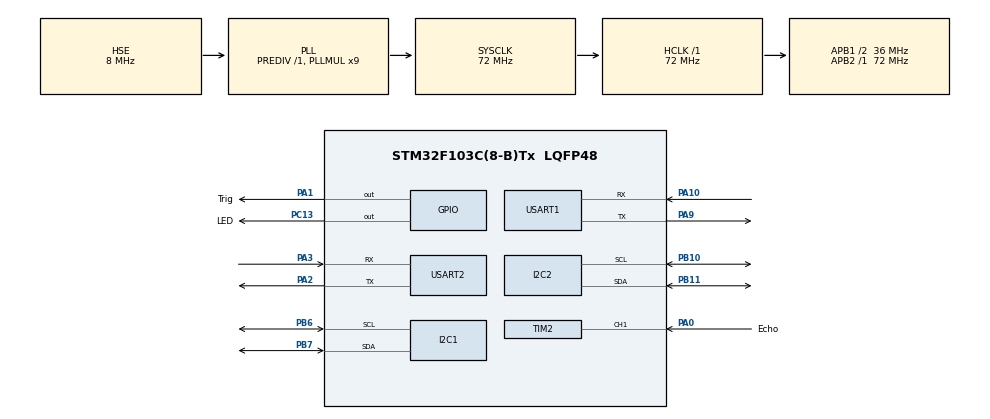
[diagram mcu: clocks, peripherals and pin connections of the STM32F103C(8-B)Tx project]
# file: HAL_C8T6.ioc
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FREERTOS.Events01=activeEvent,Dynamic,NULL
FREERTOS.INCLUDE_xEventGroupSetBitFromISR=1
FREERTOS.Tasks01=defaultTask,24,128,StartDefaultTask,Default,NULL,Dynamic,NULL,NULL;active,8,128,active_task,Default,NULL,Dynamic,NULL,NULL
FREERTOS.configUSE_PREEMPTION=1
Mcu.Family=STM32F1
Mcu.Name=STM32F103C(8-B)Tx
Mcu.Package=LQFP48
NVIC.PriorityGroup=NVIC_PRIORITYGROUP_4
NVIC.TIM2_IRQn=true\:5\:0\:false\:false\:true\:true\:true\:true\:true
NVIC.TIM4_IRQn=true\:15\:0\:false\:false\:true\:false\:false\:true\:true
NVIC.TimeBase=TIM4_IRQn
NVIC.TimeBaseIP=TIM4
NVIC.USART1_IRQn=true\:5\:0\:false\:false\:true\:true\:true\:true\:true
NVIC.USART2_IRQn=true\:5\:0\:false\:false\:true\:true\:true\:true\:true
PA0-WKUP.GPIO_Label=Echo
PA0-WKUP.Signal=S_TIM2_CH1_ETR
PA1.GPIO_Label=Trig
PA1.GPIO_PuPd=GPIO_PULLUP
PA1.GPIO_Speed=GPIO_SPEED_FREQ_HIGH
PA1.Signal=GPIO_Output
PA10.Mode=Asynchronous
PA10.Signal=USART1_RX
PA13.Mode=Serial_Wire
PA13.Signal=SYS_JTMS-SWDIO
PA14.Mode=Serial_Wire
PA14.Signal=SYS_JTCK-SWCLK
PA2.Mode=Asynchronous
PA2.Signal=USART2_TX
PA3.Mode=Asynchronous
PA3.Signal=USART2_RX
PA9.Mode=Asynchronous
PA9.Signal=USART1_TX
PB10.Mode=I2C
PB10.Signal=I2C2_SCL
PB11.Mode=I2C
PB11.Signal=I2C2_SDA
PB6.GPIO_Speed=GPIO_SPEED_FREQ_HIGH
PB6.Mode=I2C
PB6.Signal=I2C1_SCL
PB7.GPIO_Speed=GPIO_SPEED_FREQ_HIGH
PB7.Mode=I2C
PB7.Signal=I2C1_SDA
PC13-TAMPER-RTC.GPIO_Label=LED
PC13-TAMPER-RTC.GPIO_PuPd=GPIO_NOPULL
PC13-TAMPER-RTC.GPIO_Speed=GPIO_SPEED_FREQ_MEDIUM
PC13-TAMPER-RTC.PinState=GPIO_PIN_RESET
PC13-TAMPER-RTC.Signal=GPIO_Output
PD0-OSC_IN.Mode=HSE-External-Oscillator
PD0-OSC_IN.Signal=RCC_OSC_IN
PD1-OSC_OUT.Mode=HSE-External-Oscillator
PD1-OSC_OUT.Signal=RCC_OSC_OUT
ProjectManager.HeapSize=0x200
ProjectManager.StackSize=0x400
ProjectManager.TargetToolchain=MDK-ARM V5.32
RCC.AHBFreq_Value=72000000
RCC.APB1CLKDivider=RCC_HCLK_DIV2
RCC.APB1Freq_Value=36000000
RCC.APB1TimFreq_Value=72000000
RCC.APB2Freq_Value=72000000
RCC.APB2TimFreq_Value=72000000
RCC.HCLKFreq_Value=72000000
RCC.PLLMUL=RCC_PLL_MUL9
RCC.PLLSourceVirtual=RCC_PLLSOURCE_HSE
RCC.SYSCLKFreq_VALUE=72000000
RCC.SYSCLKSource=RCC_SYSCLKSOURCE_PLLCLK
RCC.USBFreq_Value=72000000
SH.S_TIM2_CH1_ETR.0=TIM2_CH1,Input_Capture1_from_TI1
TIM2.AutoReloadPreload=TIM_AUTORELOAD_PRELOAD_ENABLE
TIM2.Channel-Input_Capture1_from_TI1=TIM_CHANNEL_1
TIM2.Prescaler=71
USART1.VirtualMode=VM_ASYNC
USART2.VirtualMode=VM_ASYNC
VP_FREERTOS_VS_CMSIS_V2.Mode=CMSIS_V2
VP_SYS_VS_tim4.Mode=TIM4
VP_TIM2_VS_ClockSourceINT.Mode=Internal
board=custom

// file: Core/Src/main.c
/* USER CODE BEGIN Header */
/**
  ******************************************************************************
  * @file           : main.c
  * @brief          : Main program body
  ******************************************************************************
  * @attention
  *
  * Copyright (c) 2024 STMicroelectronics.
  * All rights reserved.
  *
  * This software is licensed under terms that can be found in the LICENSE file
  * in the root directory of this software component.
  * If no LICENSE file comes with this software, it is provided AS-IS.
  *
  ******************************************************************************
  */
/* USER CODE END Header */
#include "main.h"
#include "cmsis_os.h"
#include "i2c.h"
#include "tim.h"
#include "usart.h"
#include "gpio.h"

/* USER CODE BEGIN Includes */
#include "PCA9685.h"
#include "ssd1306.h"
#include "mpu6050.h"

/* USER CODE END Includes */

void SystemClock_Config(void);
void MX_FREERTOS_Init(void);

int main(void)
{

  /* MCU Configuration--------------------------------------------------------*/

  /* Reset of all peripherals, Initializes the Flash interface and the Systick. */
  HAL_Init();

  /* Configure the system clock */
  SystemClock_Config();

  /* Initialize all configured peripherals */
  MX_GPIO_Init();
  MX_I2C1_Init();
  MX_USART2_UART_Init();
  MX_TIM2_Init();
  MX_USART1_UART_Init();
  MX_I2C2_Init();
  /* USER CODE BEGIN 2 */
  PCA_MG9XX_Init(55); //ʵ��Ƶ��Ϊ50Hz
  ssd1306_init();
  MPU6050_Init();
  HAL_UART_Receive_IT(&huart2, TempBuffer, 1);
  HAL_TIM_IC_Start_IT(&htim2, TIM_CHANNEL_1);
  /* USER CODE END 2 */

  /* Init scheduler */
  osKernelInitialize();

  /* Call init function for freertos objects (in cmsis_os2.c) */
  MX_FREERTOS_Init();

  /* Start scheduler */
  osKernelStart();

  /* We should never get here as control is now taken by the scheduler */

  /* Infinite loop */
  while (1)
  {

  }
}

void SystemClock_Config(void)
{
  RCC_OscInitTypeDef RCC_OscInitStruct = {0};
  RCC_ClkInitTypeDef RCC_ClkInitStruct = {0};

  /** Initializes the RCC Oscillators according to the specified parameters
  * in the RCC_OscInitTypeDef structure.
  */
  RCC_OscInitStruct.OscillatorType = RCC_OSCILLATORTYPE_HSE;
  RCC_OscInitStruct.HSEState = RCC_HSE_ON;
  RCC_OscInitStruct.HSEPredivValue = RCC_HSE_PREDIV_DIV1;
  RCC_OscInitStruct.HSIState = RCC_HSI_ON;
  RCC_OscInitStruct.PLL.PLLState = RCC_PLL_ON;
  RCC_OscInitStruct.PLL.PLLSource = RCC_PLLSOURCE_HSE;
  RCC_OscInitStruct.PLL.PLLMUL = RCC_PLL_MUL9;
  if (HAL_RCC_OscConfig(&RCC_OscInitStruct) != HAL_OK)
  {
    Error_Handler();
  }

  /** Initializes the CPU, AHB and APB buses clocks
  */
  RCC_ClkInitStruct.ClockType = RCC_CLOCKTYPE_HCLK|RCC_CLOCKTYPE_SYSCLK
                              |RCC_CLOCKTYPE_PCLK1|RCC_CLOCKTYPE_PCLK2;
  RCC_ClkInitStruct.SYSCLKSource = RCC_SYSCLKSOURCE_PLLCLK;
  RCC_ClkInitStruct.AHBCLKDivider = RCC_SYSCLK_DIV1;
  RCC_ClkInitStruct.APB1CLKDivider = RCC_HCLK_DIV2;
  RCC_ClkInitStruct.APB2CLKDivider = RCC_HCLK_DIV1;

  if (HAL_RCC_ClockConfig(&RCC_ClkInitStruct, FLASH_LATENCY_2) != HAL_OK)
  {
    Error_Handler();
  }
}

void HAL_TIM_PeriodElapsedCallback(TIM_HandleTypeDef *htim)
{
  if (htim->Instance == TIM4) {
    HAL_IncTick();
  }
}

void Error_Handler(void)
{
  __disable_irq();
  while (1)
  {
  }
}

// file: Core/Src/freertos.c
/* USER CODE BEGIN Header */
/**
  ******************************************************************************
  * File Name          : freertos.c
  * Description        : Code for freertos applications
  * 文件名             : freertos.c
  * 描述               : FreeRTOS 应用程序代码
  ******************************************************************************
  * @attention
  *
  * Copyright (c) 2024 STMicroelectronics.
  * All rights reserved.
  *
  * This software is licensed under terms that can be found in the LICENSE file
  * in the root directory of this software component.
  * If no LICENSE file comes with this software, it is provided AS-IS.
  * 本软件遵循根目录中 LICENSE 文件的条款进行许可。
  * 如果未附带 LICENSE 文件，则按"原样"提供。
  *
  ******************************************************************************
  */
/* USER CODE END Header */

// 包含头文件
#include "FreeRTOS.h"
#include "task.h"
#include "main.h"
#include "cmsis_os.h"

/* USER CODE BEGIN Includes */
// 用户自定义包含头文件
#include "PCA9685.h"    // PCA9685 PWM 驱动
#include "ssd1306.h"    // SSD1306 OLED 显示驱动
#include "globals.h"    // 全局变量声明
#include "SR04.h"       // HC-SR04 超声波传感器驱动
#include "mpu6050.h"    // MPU6050 IMU 驱动

/* USER CODE END Includes */

// 私有类型定义
/* USER CODE BEGIN PTD */
char distance_buffer[20];  // 用来存储格式化后的距离字符串
/* USER CODE END PTD */

// 私有宏定义

// 私有宏
/* USER CODE BEGIN PM */

/* USER CODE BEGIN 2 */

/* USER CODE END 2 */
/* USER CODE END PM */

// 私有变量

/* Definitions for defaultTask */
// defaultTask 任务定义
osThreadId_t defaultTaskHandle;
const osThreadAttr_t defaultTask_attributes = {
  .name = "defaultTask",              // 任务名称：默认任务
  .stack_size = 128 * 4,              // 栈大小：128字 × 4字节 = 512字节
  .priority = (osPriority_t) osPriorityNormal,  // 优先级：普通优先级（24）
};

/* Definitions for active */
// active_task 任务定义
osThreadId_t activeHandle;
const osThreadAttr_t active_attributes = {
  .name = "active",                   // 任务名称：活动任务
  .stack_size = 128 * 4,              // 栈大小：128字 × 4字节 = 512字节
  .priority = (osPriority_t) osPriorityLow,   // 优先级：低优先级（23）
};

/* Definitions for activeEvent */
// activeEvent 事件标志定义
osEventFlagsId_t activeEventHandle;
const osEventFlagsAttr_t activeEvent_attributes = {
  .name = "activeEvent"               // 事件标志名称：活动事件
};

// 私有函数原型声明

void StartDefaultTask(void *argument);   // 默认任务函数声明
void active_task(void *argument);        // 活动任务函数声明

void MX_FREERTOS_Init(void); /* (MISRA C 2004 rule 8.1) */
// FreeRTOS 初始化函数声明（符合 MISRA C 2004 规则 8.1）

void MX_FREERTOS_Init(void) {
  /* USER CODE BEGIN Init */
  // 用户自定义初始化代码

  /* USER CODE END Init */

  /* USER CODE BEGIN RTOS_MUTEX */
  /* add mutexes, ... */
  // 添加互斥量...
  /* USER CODE END RTOS_MUTEX */

  /* USER CODE BEGIN RTOS_SEMAPHORES */
  /* add semaphores, ... */
  // 添加信号量...
  /* USER CODE END RTOS_SEMAPHORES */

  /* USER CODE BEGIN RTOS_TIMERS */
  /* start timers, add new ones, ... */
  // 启动定时器，添加新定时器...
  /* USER CODE END RTOS_TIMERS */

  /* USER CODE BEGIN RTOS_QUEUES */
  /* add queues, ... */
  // 添加队列...
  /* USER CODE END RTOS_QUEUES */

  /* Create the thread(s) */
  // 创建任务线程
  /* creation of defaultTask */
  // 创建 defaultTask 任务
  defaultTaskHandle = osThreadNew(StartDefaultTask, NULL, &defaultTask_attributes);

  /* creation of active */
  // 创建 active_task 任务
  activeHandle = osThreadNew(active_task, NULL, &active_attributes);

  /* USER CODE BEGIN RTOS_THREADS */
  /* add threads, ... */
  // 添加其他任务...
  /* USER CODE END RTOS_THREADS */

  /* Create the event(s) */
  // 创建事件对象
  /* creation of activeEvent */
  // 创建 activeEvent 事件标志
  activeEventHandle = osEventFlagsNew(&activeEvent_attributes);

  /* USER CODE BEGIN RTOS_EVENTS */
  /* add events, ... */
  // 添加其他事件...
  /* USER CODE END RTOS_EVENTS */

}

/* USER CODE BEGIN Header_StartDefaultTask */
/**
  * @brief  Function implementing the defaultTask thread.
  * @brief  实现 defaultTask 任务的函数
  * @param  argument: Not used
  * @param  argument: 未使用
  * @retval None
  * @retval 无
  */
/* USER CODE END Header_StartDefaultTask */
void StartDefaultTask(void *argument)
{
  /* USER CODE BEGIN StartDefaultTask */
  /* Infinite loop */
  // 无限循环
  for(;;) {
    // GyroData gyroDataStruct;
    // 陀螺仪数据结构体变量（已注释）
    display_oled();           // 更新 OLED 显示
    osDelay(10);              // 延时 10ms，让出 CPU 给其他任务
    // advance_bot_init();
    // 机器人前进初始化（已注释）
    // MPU6050_GetAccelData(&gyroDataStruct);
    // 读取 MPU6050 加速度数据（已注释）
  }
  /* USER CODE END StartDefaultTask */
}

/* USER CODE BEGIN Header_active_task */
/**
* @brief Function implementing the active thread.
* @brief 实现 active_task 任务的函数
* @param argument: Not used
* @param argument: 未使用
* @retval None
* @retval 无
*/
/* USER CODE END Header_active_task */
void active_task(void *argument)
{
  /* USER CODE BEGIN active_task */
  /* Infinite loop */
  // 无限循环
  for(;;) {
    // 创建结构体变量用于存储陀螺仪数据
    // GyroData gyroDataStruct;

    // 等待事件标志（阻塞状态，不占用 CPU）
    // activeEventHandle: 事件标志句柄
    // 0x01: 等待第 0 位标志
    // osFlagsWaitAny: 任意一位匹配即唤醒
    // osWaitForever: 永久等待
    osEventFlagsWait(activeEventHandle, 0x01, osFlagsWaitAny, osWaitForever);

    // 收到事件后进入运动控制循环
    while(1) {
      switch(activeTask) {  // 根据 activeTask 全局变量执行不同动作
        case 1:  // 前进模式
          ssd1306_clear_area(60,20,128,40);     // 清除 OLED 指定区域
          ssd1306_set_cursor(60, 35);            // 设置光标位置
          ssd1306_write_string(font6x8, "advance  ");  // 显示 "advance"

          if(SR04_GetData() <= 40) {  // 如果超声波检测距离 <= 40cm
            HAL_GPIO_TogglePin(LED_GPIO_Port,LED_Pin);  // 翻转 LED 指示灯
            advance_bot_init();  // 障碍物检测，停止并初始化姿态
          } else {
            advance();  // 无障碍物，执行前进步伐
          }
          break;

        case 2:  // 左转模式
          ssd1306_clear_area(60,20,250,40);     // 清除 OLED 指定区域
          ssd1306_set_cursor(60, 35);            // 设置光标位置
          ssd1306_write_string(font6x8, "turn left");  // 显示 "turn left"
          turn_left();  // 执行左转动作
          break;

        case 3:  // 右转模式
          ssd1306_clear_area(60,20,250,40);     // 清除 OLED 指定区域
          ssd1306_set_cursor(60, 35);            // 设置光标位置
          ssd1306_write_string(font6x8, "turn right");  // 显示 "turn right"
          turn_right();  // 执行右转动作
          break;

        case 4:  // 后退模式
          ssd1306_clear_area(60,20,250,40);     // 清除 OLED 指定区域
          ssd1306_set_cursor(60, 35);            // 设置光标位置
          ssd1306_write_string(font6x8, "back      ");  // 显示 "back"
          back();  // 执行后退动作
          break;

        case 5:  // 停止模式
          ssd1306_clear_area(60,20,250,40);     // 清除 OLED 指定区域
          ssd1306_set_cursor(60, 35);            // 设置光标位置
          ssd1306_write_string(font6x8, "stop      ");  // 显示 "stop"
          advance_bot_init();  // 执行停止并初始化姿态
          break;

        default:  // 默认情况
          break;
      }
      osDelay(100);  // 每步延时 100ms，控制运动节奏
    }
  }
  /* USER CODE END active_task */
}

// 私有应用代码
